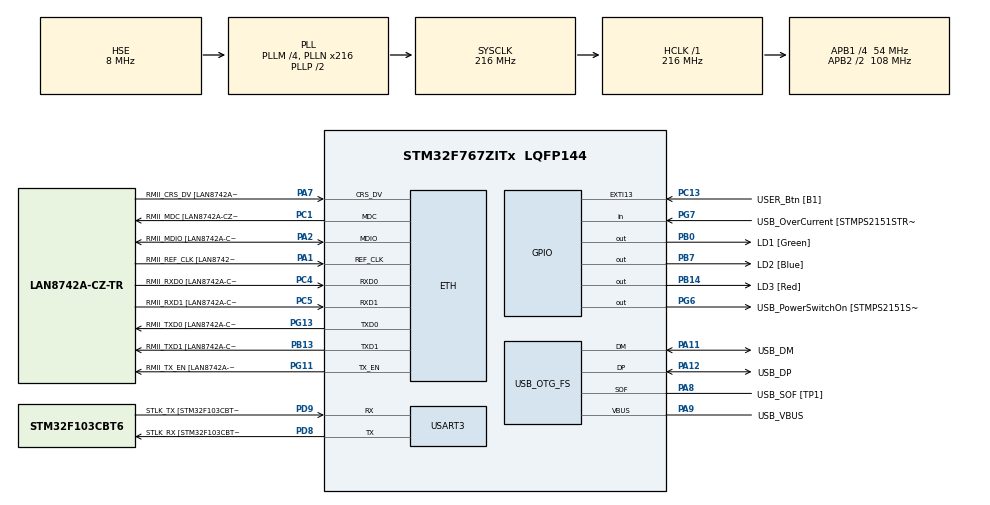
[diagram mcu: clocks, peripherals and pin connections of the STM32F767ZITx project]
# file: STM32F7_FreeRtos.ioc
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ETH.MediaInterface=ETH_MEDIA_INTERFACE_RMII
ETH.PHY_Name=LAN8742A_PHY_ADDRESS
ETH.PHY_Value=0
ETH.PhyAddress=0
FREERTOS.Tasks01=defaultTask,24,128,StartDefaultTask,Default,NULL,Dynamic,NULL,NULL
LWIP.LWIP_DHCP=1
LWIP.LWIP_DNS=1
LWIP.Version=v2.1.2_Cube
Mcu.Family=STM32F7
Mcu.Name=STM32F767ZITx
Mcu.Package=LQFP144
NVIC.ETH_IRQn=true\:5\:0\:false\:false\:true\:true\:false\:true
NVIC.PriorityGroup=NVIC_PRIORITYGROUP_4
NVIC.TIM7_IRQn=true\:0\:0\:false\:false\:true\:false\:false\:true
NVIC.TimeBase=TIM7_IRQn
NVIC.TimeBaseIP=TIM7
PA1.GPIO_Label=RMII_REF_CLK [LAN8742A-CZ-TR_REFCLK0]
PA1.Mode=RMII
PA1.Signal=ETH_REF_CLK
PA10.GPIO_Label=USB_ID
PA10.Signal=USB_OTG_FS_ID
PA11.GPIO_Label=USB_DM
PA11.Mode=Device_Only
PA11.Signal=USB_OTG_FS_DM
PA12.GPIO_Label=USB_DP
PA12.Mode=Device_Only
PA12.Signal=USB_OTG_FS_DP
PA13.GPIO_Label=TMS
PA13.Mode=Serial_Wire
PA13.Signal=SYS_JTMS-SWDIO
PA14.GPIO_Label=TCK
PA14.Mode=Serial_Wire
PA14.Signal=SYS_JTCK-SWCLK
PA2.GPIO_Label=RMII_MDIO [LAN8742A-CZ-TR_MDIO]
PA2.Mode=RMII
PA2.Signal=ETH_MDIO
PA7.GPIO_Label=RMII_CRS_DV [LAN8742A-CZ-TR_CRS_DV]
PA7.Mode=RMII
PA7.Signal=ETH_CRS_DV
PA8.GPIO_Label=USB_SOF [TP1]
PA8.Mode=Activate_SOF_FS
PA8.Signal=USB_OTG_FS_SOF
PA9.GPIO_Label=USB_VBUS
PA9.Mode=Activate_VBUS
PA9.Signal=USB_OTG_FS_VBUS
PB0.GPIO_Label=LD1 [Green]
PB0.Signal=GPIO_Output
PB13.GPIO_Label=RMII_TXD1 [LAN8742A-CZ-TR_TXD1]
PB13.Mode=RMII
PB13.Signal=ETH_TXD1
PB14.GPIO_Label=LD3 [Red]
PB14.Signal=GPIO_Output
PB3.GPIO_Label=SWO
PB3.Signal=SYS_JTDO-SWO
PB7.GPIO_Label=LD2 [Blue]
PB7.Signal=GPIO_Output
PC1.GPIO_Label=RMII_MDC [LAN8742A-CZ-TR_MDC]
PC1.Mode=RMII
PC1.Signal=ETH_MDC
PC13.GPIO_Label=USER_Btn [B1]
PC13.Signal=GPXTI13
PC14/OSC32_IN.Mode=LSE-External-Oscillator
PC14/OSC32_IN.Signal=RCC_OSC32_IN
PC15/OSC32_OUT.Mode=LSE-External-Oscillator
PC15/OSC32_OUT.Signal=RCC_OSC32_OUT
PC4.GPIO_Label=RMII_RXD0 [LAN8742A-CZ-TR_RXD0]
PC4.Mode=RMII
PC4.Signal=ETH_RXD0
PC5.GPIO_Label=RMII_RXD1 [LAN8742A-CZ-TR_RXD1]
PC5.Mode=RMII
PC5.Signal=ETH_RXD1
PD8.GPIO_Label=STLK_RX [STM32F103CBT6_PA3]
PD8.Mode=Asynchronous
PD8.Signal=USART3_TX
PD9.GPIO_Label=STLK_TX [STM32F103CBT6_PA2]
PD9.Mode=Asynchronous
PD9.Signal=USART3_RX
PG11.GPIO_Label=RMII_TX_EN [LAN8742A-CZ-TR_TXEN]
PG11.Mode=RMII
PG11.Signal=ETH_TX_EN
PG13.GPIO_Label=RMII_TXD0 [LAN8742A-CZ-TR_TXD0]
PG13.Mode=RMII
PG13.Signal=ETH_TXD0
PG6.GPIO_Label=USB_PowerSwitchOn [STMPS2151STR_EN]
PG6.Signal=GPIO_Output
PG7.GPIO_Label=USB_OverCurrent [STMPS2151STR_FAULT]
PG7.Signal=GPIO_Input
PH0/OSC_IN.GPIO_Label=MCO [STM32F103CBT6_PA8]
PH0/OSC_IN.Mode=HSE-External-Clock-Source
PH0/OSC_IN.Signal=RCC_OSC_IN
PH1/OSC_OUT.Mode=HSE-External-Clock-Source
PH1/OSC_OUT.Signal=RCC_OSC_OUT
ProjectManager.HeapSize=0x200
ProjectManager.StackSize=0x400
ProjectManager.TargetToolchain=STM32CubeIDE
RCC.48MHZClocksFreq_Value=24000000
RCC.AHBFreq_Value=216000000
RCC.APB1CLKDivider=RCC_HCLK_DIV4
RCC.APB1Freq_Value=54000000
RCC.APB1TimFreq_Value=108000000
RCC.APB2CLKDivider=RCC_HCLK_DIV2
RCC.APB2Freq_Value=108000000
RCC.APB2TimFreq_Value=216000000
RCC.CortexFreq_Value=216000000
RCC.HCLKFreq_Value=216000000
RCC.HSE_VALUE=8000000
RCC.HSI_VALUE=16000000
RCC.PLLM=4
RCC.PLLMUL=RCC_PLL_MUL9
RCC.PLLN=216
RCC.PLLQ=9
RCC.PRESCALERUSB=RCC_USBCLKSOURCE_PLL_DIV1_5
RCC.SYSCLKFreq_VALUE=216000000
RCC.SYSCLKSource=RCC_SYSCLKSOURCE_PLLCLK
RCC.SYSCLKSourceVirtual=RCC_SYSCLKSOURCE_PLLCLK
RCC.USBFreq_Value=48000000
RCC.VCOOutputFreq_Value=432000000
USART3.VirtualMode-Asynchronous=VM_ASYNC
USB_OTG_FS.VirtualMode=Device_Only
VP_FREERTOS_VS_CMSIS_V2.Mode=CMSIS_V2
VP_LWIP_VS_Enabled.Mode=Enabled
VP_SYS_VS_tim7.Mode=TIM7
board=NUCLEO-F767ZI

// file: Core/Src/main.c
/* USER CODE BEGIN Header */
/**
 ******************************************************************************
 * @file           : main.c
 * @brief          : Main program body
 ******************************************************************************
 * @attention
 *
 * <h2><center>&copy; Copyright (c) 2021 STMicroelectronics.
 * All rights reserved.</center></h2>
 *
 * This software component is licensed by ST under BSD 3-Clause license,
 * the "License"; You may not use this file except in compliance with the
 * License. You may obtain a copy of the License at:
 *                        opensource.org/licenses/BSD-3-Clause
 *
 ******************************************************************************
 */
/* USER CODE END Header */
#include "main.h"
#include "cmsis_os.h"
#include "lwip.h"

UART_HandleTypeDef huart3;

PCD_HandleTypeDef hpcd_USB_OTG_FS;

/* Definitions for defaultTask */
osThreadId_t defaultTaskHandle;
const osThreadAttr_t defaultTask_attributes = {
		.name = "defaultTask",
		.priority = (osPriority_t) osPriorityRealtime,
		.stack_size = 1024 * 4
};
/* USER CODE BEGIN PV */
#ifdef __GNUC__
int __io_putchar(int ch)
#else
int fputc(int ch, FILE *f)
#endif /* __GNUC__ */
{
	HAL_UART_Transmit(&huart3, (uint8_t *)&ch, 1, 0xFFFF);
	return ch;
}

osThreadId_t task2_h;
const osThreadAttr_t task2_attr = {
		.name = "task2",
		.priority = (osPriority_t) osPriorityRealtime,
		.stack_size = 1024 * 4
};
/* USER CODE END PV */

void SystemClock_Config(void);
static void MX_GPIO_Init(void);
static void MX_USART3_UART_Init(void);
static void MX_USB_OTG_FS_PCD_Init(void);
void StartDefaultTask(void *argument);

/* USER CODE BEGIN PFP */
void Task2(void *argument);
/* USER CODE END PFP */

/* USER CODE BEGIN 0 */
extern struct netif gnetif;

//ethernetif_notify_conn_changed(&gnetif);
void ethernetif_notify_conn_changed(struct netif *netif)
{
	/* NOTE : This is function could be implemented in user file
	 when the callback is needed,
	 */
#if 0
	u32_t local_IP =0;

	if (netif_is_link_up(netif))
	{
		printf("link_up\r\n");
		HAL_GPIO_WritePin(GPIOB, LD1_Pin, GPIO_PIN_SET);
		HAL_GPIO_WritePin(GPIOB, LD2_Pin, GPIO_PIN_RESET);

		netif_set_up(&gnetif);
		dhcp_start(&gnetif);

		osDelay(1000);

		netif_set_up(&gnetif);
		dhcp_start(&gnetif);
		local_IP = gnetif.ip_addr.addr;
		printf("IP : [%d.%d.%d.%d] \r\n", (int)(local_IP & 0xff), (int)((local_IP >> 8) & 0xff), (int)((local_IP >> 16) & 0xff), (int)(local_IP >> 24));
	}
	else
	{
		printf("link_down\r\n");
		HAL_GPIO_WritePin(GPIOB, LD1_Pin, GPIO_PIN_RESET);
		HAL_GPIO_WritePin(GPIOB, LD2_Pin, GPIO_PIN_SET);
	}
#endif
}

void MX_LWIP_Process(void)
{
	/* USER CODE BEGIN 4_1 */
	u32_t local_IP =0;
	/* USER CODE END 4_1 */
	ethernetif_input(&gnetif);

	/* USER CODE BEGIN 4_2 */
	/* USER CODE END 4_2 */
	/* Handle timeouts */
	sys_check_timeouts();

	/* USER CODE BEGIN 4_3 */
	ethernetif_set_link(&gnetif);
	if (netif_is_link_up(&gnetif) && !netif_is_up(&gnetif))
	{
		printf("Link Up\r\n");

		netif_set_up(&gnetif);
		dhcp_start(&gnetif);
		local_IP = gnetif.ip_addr.addr;
		printf("IP : [%d.%d.%d.%d] \r\n", (int)(local_IP & 0xff), (int)((local_IP >> 8) & 0xff), (int)((local_IP >> 16) & 0xff), (int)(local_IP >> 24));
	}

	/* USER CODE END 4_3 */
}
/* USER CODE END 0 */

int main(void)
{

	/* MCU Configuration--------------------------------------------------------*/

	/* Reset of all peripherals, Initializes the Flash interface and the Systick. */
	HAL_Init();

	/* USER CODE BEGIN Init */
	/* init code for LWIP */
	printf("[START] MX_LWIP_Init\n\r");
	MX_LWIP_Init();
	printf("[END] MX_LWIP_Init\n\r");
	/* USER CODE END Init */

	/* Configure the system clock */
	SystemClock_Config();

	/* Initialize all configured peripherals */
	MX_GPIO_Init();
	MX_USART3_UART_Init();
	MX_USB_OTG_FS_PCD_Init();
	/* USER CODE BEGIN 2 */

	//ethernetif_notify_conn_changed(&gnetif);
	/* USER CODE END 2 */

	/* Init scheduler */
	osKernelInitialize();

	/* Create the thread(s) */
	/* creation of defaultTask */
	defaultTaskHandle = osThreadNew(StartDefaultTask, NULL, &defaultTask_attributes);

	/* USER CODE BEGIN RTOS_THREADS */
	/* add threads, ... */
	task2_h = osThreadNew(Task2, NULL, &task2_attr);
	/* USER CODE END RTOS_THREADS */

	/* Start scheduler */
	osKernelStart();

	/* We should never get here as control is now taken by the scheduler */
	/* Infinite loop */
	while (1)
	{

	}
}

void SystemClock_Config(void)
{
	RCC_OscInitTypeDef RCC_OscInitStruct = {0};
	RCC_ClkInitTypeDef RCC_ClkInitStruct = {0};
	RCC_PeriphCLKInitTypeDef PeriphClkInitStruct = {0};

	/** Configure LSE Drive Capability
	 */
	HAL_PWR_EnableBkUpAccess();
	/** Configure the main internal regulator output voltage
	 */
	__HAL_RCC_PWR_CLK_ENABLE();
	__HAL_PWR_VOLTAGESCALING_CONFIG(PWR_REGULATOR_VOLTAGE_SCALE1);
	/** Initializes the RCC Oscillators according to the specified parameters
	 * in the RCC_OscInitTypeDef structure.
	 */
	RCC_OscInitStruct.OscillatorType = RCC_OSCILLATORTYPE_HSE;
	RCC_OscInitStruct.HSEState = RCC_HSE_BYPASS;
	RCC_OscInitStruct.PLL.PLLState = RCC_PLL_ON;
	RCC_OscInitStruct.PLL.PLLSource = RCC_PLLSOURCE_HSE;
	RCC_OscInitStruct.PLL.PLLM = 4;
	RCC_OscInitStruct.PLL.PLLN = 216;
	RCC_OscInitStruct.PLL.PLLP = RCC_PLLP_DIV2;
	RCC_OscInitStruct.PLL.PLLQ = 9;
	if (HAL_RCC_OscConfig(&RCC_OscInitStruct) != HAL_OK)
	{
		Error_Handler();
	}
	/** Activate the Over-Drive mode
	 */
	if (HAL_PWREx_EnableOverDrive() != HAL_OK)
	{
		Error_Handler();
	}
	/** Initializes the CPU, AHB and APB buses clocks
	 */
	RCC_ClkInitStruct.ClockType = RCC_CLOCKTYPE_HCLK|RCC_CLOCKTYPE_SYSCLK
			|RCC_CLOCKTYPE_PCLK1|RCC_CLOCKTYPE_PCLK2;
	RCC_ClkInitStruct.SYSCLKSource = RCC_SYSCLKSOURCE_PLLCLK;
	RCC_ClkInitStruct.AHBCLKDivider = RCC_SYSCLK_DIV1;
	RCC_ClkInitStruct.APB1CLKDivider = RCC_HCLK_DIV4;
	RCC_ClkInitStruct.APB2CLKDivider = RCC_HCLK_DIV2;

	if (HAL_RCC_ClockConfig(&RCC_ClkInitStruct, FLASH_LATENCY_7) != HAL_OK)
	{
		Error_Handler();
	}
	PeriphClkInitStruct.PeriphClockSelection = RCC_PERIPHCLK_USART3|RCC_PERIPHCLK_CLK48;
	PeriphClkInitStruct.Usart3ClockSelection = RCC_USART3CLKSOURCE_PCLK1;
	PeriphClkInitStruct.Clk48ClockSelection = RCC_CLK48SOURCE_PLL;
	if (HAL_RCCEx_PeriphCLKConfig(&PeriphClkInitStruct) != HAL_OK)
	{
		Error_Handler();
	}
}

static void MX_USART3_UART_Init(void)
{

	huart3.Instance = USART3;
	huart3.Init.BaudRate = 115200;
	huart3.Init.WordLength = UART_WORDLENGTH_8B;
	huart3.Init.StopBits = UART_STOPBITS_1;
	huart3.Init.Parity = UART_PARITY_NONE;
	huart3.Init.Mode = UART_MODE_TX_RX;
	huart3.Init.HwFlowCtl = UART_HWCONTROL_NONE;
	huart3.Init.OverSampling = UART_OVERSAMPLING_16;
	huart3.Init.OneBitSampling = UART_ONE_BIT_SAMPLE_DISABLE;
	huart3.AdvancedInit.AdvFeatureInit = UART_ADVFEATURE_NO_INIT;
	if (HAL_UART_Init(&huart3) != HAL_OK)
	{
		Error_Handler();
	}

}

static void MX_USB_OTG_FS_PCD_Init(void)
{

	hpcd_USB_OTG_FS.Instance = USB_OTG_FS;
	hpcd_USB_OTG_FS.Init.dev_endpoints = 6;
	hpcd_USB_OTG_FS.Init.speed = PCD_SPEED_FULL;
	hpcd_USB_OTG_FS.Init.dma_enable = DISABLE;
	hpcd_USB_OTG_FS.Init.phy_itface = PCD_PHY_EMBEDDED;
	hpcd_USB_OTG_FS.Init.Sof_enable = ENABLE;
	hpcd_USB_OTG_FS.Init.low_power_enable = DISABLE;
	hpcd_USB_OTG_FS.Init.lpm_enable = DISABLE;
	hpcd_USB_OTG_FS.Init.vbus_sensing_enable = ENABLE;
	hpcd_USB_OTG_FS.Init.use_dedicated_ep1 = DISABLE;
	if (HAL_PCD_Init(&hpcd_USB_OTG_FS) != HAL_OK)
	{
		Error_Handler();
	}

}

static void MX_GPIO_Init(void)
{
	GPIO_InitTypeDef GPIO_InitStruct = {0};

	/* GPIO Ports Clock Enable */
	__HAL_RCC_GPIOC_CLK_ENABLE();
	__HAL_RCC_GPIOH_CLK_ENABLE();
	__HAL_RCC_GPIOA_CLK_ENABLE();
	__HAL_RCC_GPIOB_CLK_ENABLE();
	__HAL_RCC_GPIOD_CLK_ENABLE();
	__HAL_RCC_GPIOG_CLK_ENABLE();

	/*Configure GPIO pin Output Level */
	HAL_GPIO_WritePin(GPIOB, LD1_Pin|LD3_Pin|LD2_Pin, GPIO_PIN_RESET);

	/*Configure GPIO pin Output Level */
	HAL_GPIO_WritePin(USB_PowerSwitchOn_GPIO_Port, USB_PowerSwitchOn_Pin, GPIO_PIN_RESET);

	/*Configure GPIO pin : USER_Btn_Pin */
	GPIO_InitStruct.Pin = USER_Btn_Pin;
	GPIO_InitStruct.Mode = GPIO_MODE_IT_RISING;
	GPIO_InitStruct.Pull = GPIO_NOPULL;
	HAL_GPIO_Init(USER_Btn_GPIO_Port, &GPIO_InitStruct);

	/*Configure GPIO pins : LD1_Pin LD3_Pin LD2_Pin */
	GPIO_InitStruct.Pin = LD1_Pin|LD3_Pin|LD2_Pin;
	GPIO_InitStruct.Mode = GPIO_MODE_OUTPUT_PP;
	GPIO_InitStruct.Pull = GPIO_NOPULL;
	GPIO_InitStruct.Speed = GPIO_SPEED_FREQ_LOW;
	HAL_GPIO_Init(GPIOB, &GPIO_InitStruct);

	/*Configure GPIO pin : USB_PowerSwitchOn_Pin */
	GPIO_InitStruct.Pin = USB_PowerSwitchOn_Pin;
	GPIO_InitStruct.Mode = GPIO_MODE_OUTPUT_PP;
	GPIO_InitStruct.Pull = GPIO_NOPULL;
	GPIO_InitStruct.Speed = GPIO_SPEED_FREQ_LOW;
	HAL_GPIO_Init(USB_PowerSwitchOn_GPIO_Port, &GPIO_InitStruct);

	/*Configure GPIO pin : USB_OverCurrent_Pin */
	GPIO_InitStruct.Pin = USB_OverCurrent_Pin;
	GPIO_InitStruct.Mode = GPIO_MODE_INPUT;
	GPIO_InitStruct.Pull = GPIO_NOPULL;
	HAL_GPIO_Init(USB_OverCurrent_GPIO_Port, &GPIO_InitStruct);

}

/* USER CODE BEGIN Header_StartDefaultTask */
/**
 * @brief  Function implementing the defaultTask thread.
 * @param  argument: Not used
 * @retval None
 */
void Task2(void *argument)
{
	/* USER CODE BEGIN 5 */
	printf("Task2\r\n");
	/* Infinite loop */
	while(1)
	{

		osDelay(100);
	}
	/* USER CODE END 5 */
}

/* USER CODE END Header_StartDefaultTask */
void StartDefaultTask(void *argument)
{

	/* USER CODE BEGIN 5 */
	int link_stat=0;
	int link_stat_old=0;
	/* Infinite loop */
	while(1)
	{
		//printf("Task1\n\r");
		//MX_LWIP_Process();
		osDelay(200);

		u32_t local_IP =0;

		link_stat = netif_is_link_up(&gnetif);

		if(link_stat != link_stat_old)
		{
			link_stat_old = link_stat;
			if (link_stat)
			{
				printf("link_up\r\n");
				HAL_GPIO_WritePin(GPIOB, LD1_Pin, GPIO_PIN_SET);
				HAL_GPIO_WritePin(GPIOB, LD2_Pin, GPIO_PIN_RESET);

				//IP 할당 시간 딜레이
				osDelay(1000);

				netif_set_up(&gnetif);
				dhcp_start(&gnetif);
				local_IP = gnetif.ip_addr.addr;

				printf("IP : [%d.%d.%d.%d] \r\n", (int)(local_IP & 0xff), (int)((local_IP >> 8) & 0xff), (int)((local_IP >> 16) & 0xff), (int)(local_IP >> 24));
			}
			else
			{
				printf("link_down\r\n");
				HAL_GPIO_WritePin(GPIOB, LD1_Pin, GPIO_PIN_RESET);
				HAL_GPIO_WritePin(GPIOB, LD2_Pin, GPIO_PIN_SET);
			}
		}
	}
	/* USER CODE END 5 */
}

void HAL_TIM_PeriodElapsedCallback(TIM_HandleTypeDef *htim)
{
	if (htim->Instance == TIM7) {
		HAL_IncTick();
	}
}

void Error_Handler(void)
{
	__disable_irq();
	while (1)
	{
	}
}

/************************ (C) COPYRIGHT STMicroelectronics *****END OF FILE****/
